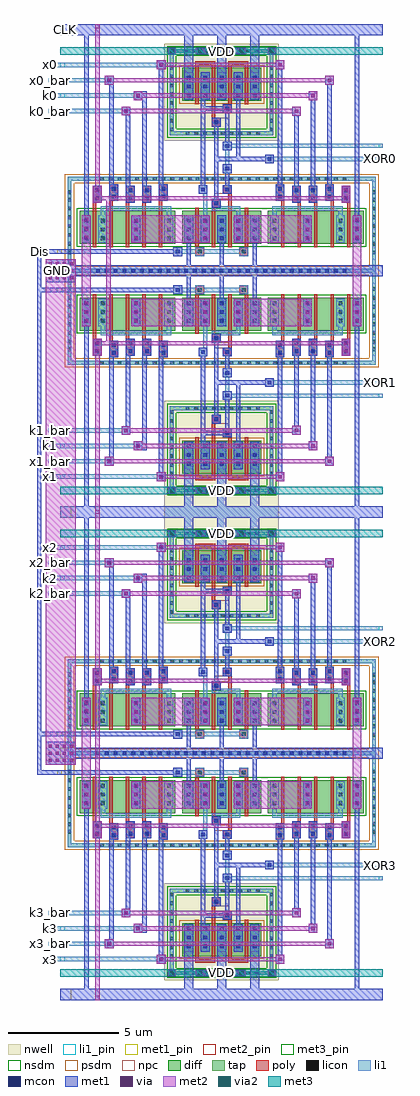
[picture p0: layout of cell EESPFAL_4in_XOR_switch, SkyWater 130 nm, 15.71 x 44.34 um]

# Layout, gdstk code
import gdstk
lib = gdstk.Library(unit=1e-6, precision=1e-09)
def R(c, l, rs):  # rectangles x0, y0, x1, y1
    for r in rs: c.add(gdstk.rectangle(r[:2], r[2:], *l))
def A(c, l, x, y, w, h, nx, ny, dx, dy):  # array of equal rectangles
    R(c, l, [(x+i*dx, y+j*dy, x+i*dx+w, y+j*dy+h) for i in range(nx) for j in range(ny)])
nwell = (64, 20)
diff = (65, 20)
tap = (65, 44)
poly = (66, 20)
licon = (66, 44)
li1_pin = (67, 16)
li1 = (67, 20)
mcon = (67, 44)
met1_pin = (68, 16)
met1 = (68, 20)
via = (68, 44)
met2_pin = (69, 16)
met2 = (69, 20)
via2 = (69, 44)
met3_pin = (70, 16)
met3 = (70, 20)
nsdm = (93, 44)
psdm = (94, 20)
npc = (95, 20)

eespfal_xor_switch = lib.new_cell('EESPFAL_XOR_switch')
R(eespfal_xor_switch, nwell, [(-21.99,6.61,-16.79,11.01)])
R(eespfal_xor_switch, diff, [(-25.84,1.92,-21.49,3.42), (-21.19,1.92,-17.59,3.42), (-17.29,1.92,-12.94,3.42), (-21.19,8.41,-17.59,9.91)])
R(eespfal_xor_switch, tap, [(-26.39,0.61,-12.39,0.78), (-26.39,0.78,-26.22,4.795), (-12.56,0.78,-12.39,4.795), (-26.39,4.795,-12.39,4.965), (-21.74,6.86,-17.04,7.03), (-21.74,7.03,-21.57,10.59), (-17.21,7.03,-17.04,10.59), (-21.74,10.59,-17.04,10.76)])
R(eespfal_xor_switch, poly, [(-20.59,1.365,-20.19,1.765), (-18.59,1.365,-18.19,1.765), (-20.59,1.765,-20.44,3.565), (-19.84,1.765,-19.69,3.565), (-19.09,1.765,-18.94,4.185), (-18.34,1.765,-18.19,3.565), (-25.24,1.77,-25.09,3.79), (-24.49,1.77,-24.34,3.865), (-23.74,1.77,-23.59,3.79), (-22.99,1.77,-22.84,3.79), (-22.24,1.77,-22.09,3.865), (-16.69,1.77,-16.54,3.865), (-15.94,1.77,-15.79,3.79), (-15.19,1.77,-15.04,3.79), (-14.44,1.77,-14.29,3.865), (-13.69,1.77,-13.54,3.79), (-19.84,3.565,-19.44,3.965), (-25.24,3.79,-24.84,4.55), (-23.74,3.79,-23.34,4.55), (-22.99,3.79,-22.59,4.55), (-16.19,3.79,-15.79,4.55), (-15.44,3.79,-15.04,4.55), (-13.94,3.79,-13.54,4.55), (-24.495,3.865,-24.095,4.625), (-22.24,3.865,-21.84,4.625), (-16.94,3.865,-16.54,4.625), (-14.69,3.865,-14.29,4.625), (-19.34,4.185,-18.94,4.585), (-19.84,7.24,-19.44,7.64), (-19.84,7.64,-19.69,10.06), (-19.34,7.86,-18.94,8.26), (-20.59,8.26,-20.44,10.06), (-19.09,8.26,-18.94,10.06), (-18.34,8.26,-18.19,10.06), (-20.59,10.06,-19.69,10.21), (-19.09,10.06,-18.19,10.21)])
A(eespfal_xor_switch, licon, -25.095, 0.61, 0.17, 0.17, 29, 1, 0.4, 0)
A(eespfal_xor_switch, licon, -26.39, 1.44, 0.17, 0.17, 1, 7, 0, 0.4)
A(eespfal_xor_switch, licon, -12.56, 1.44, 0.17, 0.17, 1, 7, 0, 0.4)
A(eespfal_xor_switch, licon, -25.625, 2.085, 0.17, 0.17, 1, 3, 0, 0.4)
A(eespfal_xor_switch, licon, -24.875, 2.085, 0.17, 0.17, 3, 3, 1.5, 0.4)
A(eespfal_xor_switch, licon, -20.975, 2.085, 0.17, 0.17, 5, 3, 0.75, 0.4)
A(eespfal_xor_switch, licon, -17.075, 2.085, 0.17, 0.17, 3, 3, 1.5, 0.4)
A(eespfal_xor_switch, licon, -13.325, 2.085, 0.17, 0.17, 1, 3, 0, 0.4)
A(eespfal_xor_switch, licon, -24.92, 4.795, 0.17, 0.17, 11, 1, 0.4, 0)
A(eespfal_xor_switch, licon, -19.84, 4.795, 0.17, 0.17, 8, 1, 0.4, 0)
A(eespfal_xor_switch, licon, -16.7, 4.795, 0.17, 0.17, 8, 1, 0.4, 0)
A(eespfal_xor_switch, licon, -21.03, 6.86, 0.17, 0.17, 9, 1, 0.4, 0)
A(eespfal_xor_switch, licon, -21.74, 7.03, 0.17, 0.17, 1, 8, 0, 0.4)
A(eespfal_xor_switch, licon, -17.21, 7.03, 0.17, 0.17, 1, 8, 0, 0.4)
A(eespfal_xor_switch, licon, -20.975, 8.575, 0.17, 0.17, 5, 3, 0.75, 0.4)
A(eespfal_xor_switch, licon, -21.09, 10.59, 0.17, 0.17, 9, 1, 0.4, 0)
R(eespfal_xor_switch, licon, [(-20.475,1.48,-20.305,1.65), (-18.475,1.48,-18.305,1.65), (-19.725,3.68,-19.555,3.85), (-25.125,3.905,-24.955,4.075), (-23.625,3.905,-23.455,4.075), (-22.875,3.905,-22.705,4.075), (-16.075,3.905,-15.905,4.075), (-15.325,3.905,-15.155,4.075), (-13.825,3.905,-13.655,4.075), (-24.38,3.98,-24.21,4.15), (-22.125,3.98,-21.955,4.15), (-16.825,3.98,-16.655,4.15), (-14.575,3.98,-14.405,4.15), (-26.39,4.18,-26.22,4.35), (-12.56,4.18,-12.39,4.35), (-25.125,4.265,-24.955,4.435), (-23.625,4.265,-23.455,4.435), (-22.875,4.265,-22.705,4.435), (-16.075,4.265,-15.905,4.435), (-15.325,4.265,-15.155,4.435), (-13.825,4.265,-13.655,4.435), (-19.225,4.3,-19.055,4.47), (-24.38,4.34,-24.21,4.51), (-22.125,4.34,-21.955,4.51), (-16.825,4.34,-16.655,4.51), (-14.575,4.34,-14.405,4.51), (-20.58,4.795,-20.41,4.965), (-20.18,4.795,-20.01,4.965), (-19.725,7.355,-19.555,7.525), (-19.225,7.975,-19.055,8.145)])
A(eespfal_xor_switch, li1_pin, -26.715, 7.85, 0.2, 0.2, 1, 4, 0, 0.7)
R(eespfal_xor_switch, li1_pin, [(-12.265,5.675,-12.065,5.875), (-12.265,6.275,-12.065,6.475)])
A(eespfal_xor_switch, li1, -24.99, 1.97, 0.4, 1.25, 3, 1, 1.5, 0)
A(eespfal_xor_switch, li1, -21.09, 1.97, 0.4, 1.25, 5, 2, 0.75, 6.49)
A(eespfal_xor_switch, li1, -17.19, 1.97, 0.4, 1.25, 3, 1, 1.5, 0)
R(eespfal_xor_switch, li1, [(-26.39,0.61,-12.39,0.78), (-26.39,0.78,-26.22,4.795), (-12.56,0.78,-12.39,4.795), (-21.59,1.365,-21.19,1.465), (-20.59,1.365,-20.19,1.465), (-18.59,1.365,-18.19,1.465), (-21.59,1.465,-18.19,1.665), (-21.59,1.665,-21.19,1.765), (-20.59,1.665,-20.19,1.765), (-18.59,1.665,-18.19,1.765), (-25.74,1.97,-25.34,3.22), (-13.44,1.97,-13.04,3.22), (-24.89,3.22,-24.69,3.42), (-21.89,3.22,-21.69,3.42), (-20.24,3.22,-20.04,4.185), (-18.74,3.22,-18.54,3.42), (-17.09,3.22,-16.89,3.42), (-14.09,3.22,-13.89,3.42), (-24.89,3.42,-21.69,3.62), (-19.84,3.42,-18.54,3.62), (-17.09,3.42,-13.89,3.62), (-19.84,3.62,-19.44,3.965), (-25.24,3.79,-24.84,4.55), (-23.74,3.79,-23.34,4.55), (-22.99,3.79,-22.59,4.55), (-16.19,3.79,-15.79,4.55), (-15.44,3.79,-15.04,4.55), (-13.94,3.79,-13.54,4.55), (-24.495,3.865,-24.095,4.625), (-22.24,3.865,-21.84,4.625), (-16.94,3.865,-16.54,4.625), (-14.69,3.865,-14.29,4.625), (-20.44,4.185,-20.04,4.585), (-19.34,4.185,-18.94,4.585), (-26.39,4.795,-12.39,4.965), (-19.34,5.135,-18.94,5.535), (-19.24,5.535,-19.04,6.165), (-17.42,5.575,-17.02,5.675), (-17.42,5.675,-12.065,5.875), (-17.42,5.875,-17.02,5.975), (-19.34,6.165,-18.94,6.275), (-19.34,6.275,-12.065,6.475), (-19.34,6.475,-18.94,6.565), (-21.74,6.86,-17.04,7.03), (-21.74,7.03,-21.57,10.59), (-17.21,7.03,-17.04,10.59), (-19.84,7.24,-19.44,7.64), (-23.94,7.75,-23.54,7.85), (-26.715,7.85,-23.54,8.05), (-19.34,7.86,-18.94,8.26), (-23.94,8.05,-23.54,8.15), (-23.39,8.45,-22.99,8.55), (-26.715,8.55,-22.99,8.75), (-23.39,8.75,-22.99,8.85), (-24.695,9.15,-24.295,9.25), (-26.715,9.25,-24.295,9.45), (-24.695,9.45,-24.295,9.55), (-22.34,9.855,-21.94,9.95), (-26.715,9.95,-21.94,10.15), (-22.34,10.15,-21.94,10.255), (-21.74,10.59,-17.04,10.76)])
A(eespfal_xor_switch, mcon, -25.095, 0.61, 0.17, 0.17, 29, 1, 0.4, 0)
A(eespfal_xor_switch, mcon, -25.625, 2.085, 0.17, 0.17, 1, 3, 0, 0.4)
A(eespfal_xor_switch, mcon, -23.375, 2.085, 0.17, 0.17, 1, 3, 0, 0.4)
A(eespfal_xor_switch, mcon, -20.975, 2.085, 0.17, 0.17, 5, 3, 0.75, 0.4)
A(eespfal_xor_switch, mcon, -15.575, 2.085, 0.17, 0.17, 1, 3, 0, 0.4)
A(eespfal_xor_switch, mcon, -13.325, 2.085, 0.17, 0.17, 1, 3, 0, 0.4)
A(eespfal_xor_switch, mcon, -20.975, 8.575, 0.17, 0.17, 5, 3, 0.75, 0.4)
R(eespfal_xor_switch, mcon, [(-21.475,1.48,-21.305,1.65), (-19.725,3.68,-19.555,3.85), (-25.125,3.905,-24.955,4.075), (-23.625,3.905,-23.455,4.075), (-22.875,3.905,-22.705,4.075), (-16.075,3.905,-15.905,4.075), (-15.325,3.905,-15.155,4.075), (-13.825,3.905,-13.655,4.075), (-24.38,3.98,-24.21,4.15), (-22.125,3.98,-21.955,4.15), (-16.825,3.98,-16.655,4.15), (-14.575,3.98,-14.405,4.15), (-25.125,4.265,-24.955,4.435), (-23.625,4.265,-23.455,4.435), (-22.875,4.265,-22.705,4.435), (-16.075,4.265,-15.905,4.435), (-15.325,4.265,-15.155,4.435), (-13.825,4.265,-13.655,4.435), (-20.325,4.3,-20.155,4.47), (-19.225,4.3,-19.055,4.47), (-24.38,4.34,-24.21,4.51), (-22.125,4.34,-21.955,4.51), (-16.825,4.34,-16.655,4.51), (-14.575,4.34,-14.405,4.51), (-19.225,5.25,-19.055,5.42), (-17.305,5.69,-17.135,5.86), (-19.225,6.28,-19.055,6.45), (-19.725,7.355,-19.555,7.525), (-23.825,7.865,-23.655,8.035), (-19.225,7.975,-19.055,8.145), (-23.275,8.565,-23.105,8.735), (-24.58,9.265,-24.41,9.435), (-22.225,9.97,-22.055,10.14), (-21.74,10.59,-21.57,10.76), (-20.475,10.59,-20.305,10.76), (-20.075,10.59,-19.905,10.76), (-18.975,10.59,-18.805,10.76), (-18.575,10.59,-18.405,10.76), (-17.21,10.59,-17.04,10.76)])
R(eespfal_xor_switch, met1_pin, [(-26.715,0.445,-26.215,0.945), (-26.855,1.475,-26.655,1.675), (-26.715,11.405,-26.215,11.905)])
A(eespfal_xor_switch, met1, -20.99, 0.945, 0.2, 1.025, 3, 1, 1.5, 0)
A(eespfal_xor_switch, met1, -21.09, 1.97, 0.4, 1.25, 5, 1, 0.75, 0)
A(eespfal_xor_switch, met1, -21.09, 8.46, 0.4, 2.945, 3, 1, 1.5, 0)
R(eespfal_xor_switch, met1, [(-26.715,0.445,-12.065,0.945), (-21.59,1.365,-21.19,1.475), (-26.855,1.475,-21.19,1.675), (-21.59,1.675,-21.19,1.765), (-25.74,1.97,-25.34,3.22), (-23.49,1.97,-23.09,3.22), (-15.69,1.97,-15.29,3.22), (-13.44,1.97,-13.04,3.22), (-25.64,3.22,-25.44,11.405), (-13.34,3.22,-13.14,11.405), (-19.84,3.565,-19.44,3.965), (-25.24,3.79,-24.84,4.55), (-23.74,3.79,-23.34,4.55), (-22.99,3.79,-22.59,4.55), (-16.19,3.79,-15.79,4.55), (-15.44,3.79,-15.04,4.55), (-13.94,3.79,-13.54,4.55), (-24.495,3.865,-24.095,4.625), (-22.24,3.865,-21.84,4.625), (-16.94,3.865,-16.54,4.625), (-14.69,3.865,-14.29,4.625), (-19.74,3.965,-19.54,5.675), (-20.44,4.185,-20.04,4.585), (-19.34,4.185,-18.94,4.585), (-23.74,4.55,-23.54,7.75), (-22.99,4.55,-22.79,8.45), (-16.09,4.55,-15.89,7.745), (-15.34,4.55,-15.14,8.45), (-20.34,4.585,-20.14,7.96), (-19.24,4.585,-19.04,5.135), (-24.495,4.625,-24.295,9.15), (-22.24,4.625,-22.04,9.855), (-16.84,4.625,-16.64,9.855), (-14.59,4.625,-14.39,9.15), (-19.34,5.135,-18.94,5.535), (-17.42,5.575,-17.02,5.675), (-19.74,5.675,-17.02,5.875), (-19.74,5.875,-19.54,7.24), (-18.74,5.875,-18.54,8.46), (-17.42,5.875,-17.02,5.975), (-19.34,6.165,-18.94,6.565), (-19.24,6.565,-19.04,7.86), (-19.84,7.24,-19.44,7.64), (-16.19,7.745,-15.79,8.145), (-23.94,7.75,-23.54,8.15), (-19.34,7.86,-18.94,7.96), (-20.34,7.96,-18.94,8.16), (-20.34,8.16,-20.14,8.46), (-19.34,8.16,-18.94,8.26), (-23.39,8.45,-22.79,8.85), (-15.44,8.45,-15.04,8.85), (-20.34,8.46,-19.94,9.71), (-18.84,8.46,-18.44,9.71), (-24.695,9.15,-24.295,9.55), (-14.69,9.15,-14.29,9.55), (-22.34,9.855,-21.94,10.255), (-16.94,9.855,-16.54,10.255), (-21.815,10.545,-21.495,10.805), (-20.55,10.545,-19.815,10.805), (-19.05,10.545,-18.315,10.805), (-17.285,10.545,-16.965,10.805), (-26.715,11.405,-12.065,11.905)])
A(eespfal_xor_switch, via, -23.365, 2.095, 0.15, 0.15, 1, 3, 0, 0.4)
A(eespfal_xor_switch, via, -20.215, 2.095, 0.15, 0.15, 1, 3, 0, 0.4)
A(eespfal_xor_switch, via, -18.715, 2.095, 0.15, 0.15, 1, 3, 0, 0.4)
A(eespfal_xor_switch, via, -15.565, 2.095, 0.15, 0.15, 1, 3, 0, 0.4)
R(eespfal_xor_switch, via, [(-25.115,3.915,-24.965,4.065), (-13.815,3.915,-13.665,4.065), (-25.115,4.275,-24.965,4.425), (-13.815,4.275,-13.665,4.425), (-16.065,7.87,-15.915,8.02), (-23.815,7.875,-23.665,8.025), (-23.265,8.575,-23.115,8.725), (-15.315,8.575,-15.165,8.725), (-24.57,9.275,-24.42,9.425), (-14.565,9.275,-14.415,9.425), (-22.215,9.98,-22.065,10.13), (-16.815,9.98,-16.665,10.13), (-21.73,10.6,-21.58,10.75), (-20.465,10.6,-20.315,10.75), (-20.065,10.6,-19.915,10.75), (-18.965,10.6,-18.815,10.75), (-18.565,10.6,-18.415,10.75), (-17.2,10.6,-17.05,10.75)])
R(eespfal_xor_switch, met2_pin, [(-25.135,11.705,-24.935,11.905)])
R(eespfal_xor_switch, met2, [(-23.49,1.97,-19.94,3.22), (-18.84,1.97,-15.29,3.22), (-25.24,3.79,-24.84,3.89), (-13.94,3.79,-13.54,3.89), (-25.24,3.89,-13.54,4.09), (-25.24,4.09,-24.84,4.55), (-13.94,4.09,-13.54,4.55), (-25.135,4.55,-24.935,11.905), (-16.19,7.745,-15.79,7.845), (-23.94,7.75,-23.54,7.845), (-23.94,7.845,-15.79,8.045), (-23.94,8.045,-23.54,8.15), (-16.19,8.045,-15.79,8.145), (-23.39,8.45,-22.99,8.55), (-15.44,8.45,-15.04,8.55), (-23.39,8.55,-15.04,8.75), (-23.39,8.75,-22.99,8.85), (-15.44,8.75,-15.04,8.85), (-24.695,9.15,-24.295,9.25), (-14.69,9.15,-14.29,9.25), (-24.695,9.25,-14.29,9.45), (-24.695,9.45,-24.295,9.55), (-14.69,9.45,-14.29,9.55), (-22.34,9.855,-21.94,9.955), (-16.94,9.855,-16.54,9.955), (-22.34,9.955,-16.54,10.155), (-22.34,10.155,-21.94,10.255), (-16.94,10.155,-16.54,10.255), (-21.84,10.535,-21.47,10.815), (-20.575,10.535,-19.805,10.815), (-19.075,10.535,-18.305,10.815), (-17.31,10.535,-16.94,10.815)])
R(eespfal_xor_switch, via2, [(-21.755,10.575,-21.555,10.775), (-20.49,10.575,-20.29,10.775), (-20.09,10.575,-19.89,10.775), (-18.99,10.575,-18.79,10.775), (-18.59,10.575,-18.39,10.775), (-17.225,10.575,-17.025,10.775)])
R(eespfal_xor_switch, met3_pin, [(-26.715,10.51,-12.065,10.84)])
R(eespfal_xor_switch, met3, [(-26.715,10.51,-12.065,10.84)])
R(eespfal_xor_switch, nsdm, [(-25.965,1.795,-12.815,3.545), (-21.865,6.735,-16.915,7.155), (-21.865,7.155,-21.445,10.465), (-17.335,7.155,-16.915,10.465), (-21.865,10.465,-16.915,10.885)])
R(eespfal_xor_switch, psdm, [(-26.515,0.485,-12.265,0.905), (-26.515,0.905,-26.095,4.67), (-12.685,0.905,-12.265,4.67), (-26.515,4.67,-12.265,5.09), (-21.315,8.285,-17.465,10.035)])
R(eespfal_xor_switch, npc, [(-20.575,1.38,-20.205,1.75), (-18.575,1.38,-18.205,1.75), (-19.825,3.58,-19.455,3.94), (-25.225,3.805,-24.855,4.535), (-23.725,3.805,-23.355,4.535), (-22.975,3.805,-22.605,4.535), (-16.175,3.805,-15.805,4.535), (-15.425,3.805,-15.055,4.535), (-13.925,3.805,-13.555,4.535), (-24.48,3.88,-24.11,4.61), (-22.225,3.88,-21.855,4.61), (-16.925,3.88,-16.555,4.61), (-14.675,3.88,-14.305,4.61), (-19.825,3.94,-19.055,3.95), (-19.725,3.95,-19.055,4.2), (-19.725,4.2,-18.955,4.21), (-19.325,4.21,-18.955,4.57), (-19.825,7.255,-19.455,7.615), (-19.825,7.615,-19.055,7.625), (-19.725,7.625,-19.055,7.875), (-19.725,7.875,-18.955,7.885), (-19.325,7.885,-18.955,8.245)])
eespfal_xor_switch.add(gdstk.Label('A', (-26.615,10.05), layer=67, texttype=5))
eespfal_xor_switch.add(gdstk.Label('B', (-26.615,8.65), layer=67, texttype=5))
eespfal_xor_switch.add(gdstk.Label('A_bar', (-26.615,9.35), layer=67, texttype=5))
eespfal_xor_switch.add(gdstk.Label('B_bar', (-26.615,7.95), layer=67, texttype=5))
eespfal_xor_switch.add(gdstk.Label('OUT', (-12.165,5.775), layer=67, texttype=5))
eespfal_xor_switch.add(gdstk.Label('OUT_bar', (-12.165,6.375), layer=67, texttype=5))
eespfal_xor_switch.add(gdstk.Label('VDD', (-19.39,10.675), layer=70, texttype=5))
eespfal_xor_switch.add(gdstk.Label('Dis', (-26.755,1.575), layer=68, texttype=5))
eespfal_xor_switch.add(gdstk.Label('CLK', (-26.465,11.655), layer=68, texttype=5))
eespfal_xor_switch.add(gdstk.Label('GND', (-26.465,0.695), layer=68, texttype=5))
eespfal_xor_switch.add(gdstk.Label('Dis_Phase', (-25.035,11.805), layer=69, texttype=5))

eespfal_4in_xor_switch = lib.new_cell('EESPFAL_4in_XOR_switch')
R(eespfal_4in_xor_switch, nwell, [(5.79,21.525,10.99,22.815)])
A(eespfal_4in_xor_switch, li1_pin, 0.525, 1.755, 0.2, 0.2, 1, 4, 0, 0.7)
A(eespfal_4in_xor_switch, li1_pin, 0.525, 18.365, 0.2, 0.2, 1, 4, 0, 0.7)
A(eespfal_4in_xor_switch, li1_pin, 0.525, 23.675, 0.2, 0.2, 1, 4, 0, 0.7)
A(eespfal_4in_xor_switch, li1_pin, 0.525, 40.285, 0.2, 0.2, 1, 4, 0, 0.7)
R(eespfal_4in_xor_switch, li1_pin, [(15.515,5.43,15.715,5.63), (15.515,6.03,15.715,6.23), (15.515,16.19,15.715,16.39), (15.515,16.79,15.715,16.99), (15.515,27.35,15.715,27.55), (15.515,27.95,15.715,28.15), (15.515,38.11,15.715,38.31), (15.515,38.71,15.715,38.91)])
A(eespfal_4in_xor_switch, li1, 0.525, 1.755, 0.54, 0.2, 1, 4, 0, 0.7)
A(eespfal_4in_xor_switch, li1, 0.525, 18.365, 0.54, 0.2, 1, 4, 0, 0.7)
A(eespfal_4in_xor_switch, li1, 0.525, 23.675, 0.54, 0.2, 1, 4, 0, 0.7)
A(eespfal_4in_xor_switch, li1, 0.525, 40.285, 0.54, 0.2, 1, 4, 0, 0.7)
R(eespfal_4in_xor_switch, li1, [(15.515,5.43,15.715,5.63), (15.515,6.03,15.715,6.23), (15.515,16.19,15.715,16.39), (15.515,16.79,15.715,16.99), (15.515,27.35,15.715,27.55), (15.515,27.95,15.715,28.15), (15.515,38.11,15.715,38.31), (15.515,38.71,15.715,38.91)])
R(eespfal_4in_xor_switch, met1_pin, [(0,33.91,0.2,34.11), (1.065,43.84,1.565,44.34)])
A(eespfal_4in_xor_switch, met1, 2.11, 8.805, 0.26, 0.26, 1, 3, 0, 0.4)
A(eespfal_4in_xor_switch, met1, 14.41, 8.805, 0.26, 0.26, 1, 3, 0, 0.4)
A(eespfal_4in_xor_switch, met1, 2.11, 12.605, 0.26, 0.26, 1, 3, 0, 0.4)
A(eespfal_4in_xor_switch, met1, 14.41, 12.605, 0.26, 0.26, 1, 3, 0, 0.4)
A(eespfal_4in_xor_switch, met1, 2.11, 30.725, 0.26, 0.26, 1, 3, 0, 0.4)
A(eespfal_4in_xor_switch, met1, 14.41, 30.725, 0.26, 0.26, 1, 3, 0, 0.4)
A(eespfal_4in_xor_switch, met1, 2.11, 34.525, 0.26, 0.26, 1, 3, 0, 0.4)
A(eespfal_4in_xor_switch, met1, 14.41, 34.525, 0.26, 0.26, 1, 3, 0, 0.4)
R(eespfal_4in_xor_switch, met1, [(0,10.23,1.125,10.43), (0,10.43,0.2,11.99), (0.4,10.69,1.76,11.73), (0,11.99,1.125,12.19), (0,12.19,0.2,32.15), (0,32.15,1.125,32.35), (0,32.35,0.2,33.91), (0.4,32.61,1.76,33.65), (0,33.91,1.125,34.11), (1.065,43.84,1.565,44.34)])
A(eespfal_4in_xor_switch, via, 2.165, 8.86, 0.15, 0.15, 1, 3, 0, 0.4)
A(eespfal_4in_xor_switch, via, 14.465, 8.86, 0.15, 0.15, 1, 3, 0, 0.4)
A(eespfal_4in_xor_switch, via, 0.525, 10.815, 0.15, 0.15, 4, 3, 0.32, 0.32)
A(eespfal_4in_xor_switch, via, 2.165, 12.66, 0.15, 0.15, 1, 3, 0, 0.4)
A(eespfal_4in_xor_switch, via, 14.465, 12.66, 0.15, 0.15, 1, 3, 0, 0.4)
A(eespfal_4in_xor_switch, via, 2.165, 30.78, 0.15, 0.15, 1, 3, 0, 0.4)
A(eespfal_4in_xor_switch, via, 14.465, 30.78, 0.15, 0.15, 1, 3, 0, 0.4)
A(eespfal_4in_xor_switch, via, 0.525, 32.735, 0.15, 0.15, 4, 3, 0.32, 0.32)
A(eespfal_4in_xor_switch, via, 2.165, 34.58, 0.15, 0.15, 1, 3, 0, 0.4)
A(eespfal_4in_xor_switch, via, 14.465, 34.58, 0.15, 0.15, 1, 3, 0, 0.4)
R(eespfal_4in_xor_switch, met2_pin, [(0.4,32.61,1.44,33.65), (2.645,44.14,2.845,44.34)])
R(eespfal_4in_xor_switch, met2, [(2.64,8.115,2.84,14.305), (2.04,8.685,2.44,13.735), (14.34,8.685,14.74,13.735), (0.4,10.69,1.76,33.65), (3.155,29.935,3.355,36.325), (2.04,30.605,2.44,35.655), (14.34,30.605,14.74,35.655), (2.645,44.14,2.845,44.34)])
R(eespfal_4in_xor_switch, met3_pin, [(1.065,1.065,15.715,1.395), (1.065,21.025,15.715,21.355), (1.065,22.985,15.715,23.315), (1.065,42.945,15.715,43.275)])
R(eespfal_4in_xor_switch, met3, [(1.065,1.065,15.715,1.395), (1.065,21.025,15.715,21.355), (1.065,22.985,15.715,23.315), (1.065,42.945,15.715,43.275)])
eespfal_4in_xor_switch.add(gdstk.Reference(eespfal_xor_switch, (27.78,32.435)))
eespfal_4in_xor_switch.add(gdstk.Reference(eespfal_xor_switch, (27.78,33.825), x_reflection=True))
eespfal_4in_xor_switch.add(gdstk.Reference(eespfal_xor_switch, (27.78,10.515)))
eespfal_4in_xor_switch.add(gdstk.Reference(eespfal_xor_switch, (27.78,11.905), x_reflection=True))
eespfal_4in_xor_switch.add(gdstk.Label('XOR2', (15.61,16.265), layer=67, texttype=5))
eespfal_4in_xor_switch.add(gdstk.Label('x0', (0.625,42.485), layer=67, texttype=5))
eespfal_4in_xor_switch.add(gdstk.Label('x0_bar', (0.625,41.785), layer=67, texttype=5))
eespfal_4in_xor_switch.add(gdstk.Label('k0', (0.625,41.085), layer=67, texttype=5))
eespfal_4in_xor_switch.add(gdstk.Label('k0_bar', (0.625,40.385), layer=67, texttype=5))
eespfal_4in_xor_switch.add(gdstk.Label('x2', (0.625,20.565), layer=67, texttype=5))
eespfal_4in_xor_switch.add(gdstk.Label('x2_bar', (0.625,19.865), layer=67, texttype=5))
eespfal_4in_xor_switch.add(gdstk.Label('k2_bar', (0.625,18.465), layer=67, texttype=5))
eespfal_4in_xor_switch.add(gdstk.Label('k2', (0.625,19.165), layer=67, texttype=5))
eespfal_4in_xor_switch.add(gdstk.Label('k3_bar', (0.625,3.955), layer=67, texttype=5))
eespfal_4in_xor_switch.add(gdstk.Label('k3', (0.625,3.255), layer=67, texttype=5))
eespfal_4in_xor_switch.add(gdstk.Label('x3_bar', (0.625,2.555), layer=67, texttype=5))
eespfal_4in_xor_switch.add(gdstk.Label('x3', (0.625,1.855), layer=67, texttype=5))
eespfal_4in_xor_switch.add(gdstk.Label('k1_bar', (0.625,25.875), layer=67, texttype=5))
eespfal_4in_xor_switch.add(gdstk.Label('k1', (0.625,25.175), layer=67, texttype=5))
eespfal_4in_xor_switch.add(gdstk.Label('x1_bar', (0.625,24.475), layer=67, texttype=5))
eespfal_4in_xor_switch.add(gdstk.Label('x1', (0.625,23.775), layer=67, texttype=5))
eespfal_4in_xor_switch.add(gdstk.Label('XOR1', (15.615,28.05), layer=67, texttype=5))
eespfal_4in_xor_switch.add(gdstk.Label('XOR1_bar', (15.615,27.45), layer=67, texttype=5))
eespfal_4in_xor_switch.add(gdstk.Label('XOR2', (15.615,16.29), layer=67, texttype=5))
eespfal_4in_xor_switch.add(gdstk.Label('XOR0', (15.615,38.21), layer=67, texttype=5))
eespfal_4in_xor_switch.add(gdstk.Label('XOR2_bar', (15.615,16.89), layer=67, texttype=5))
eespfal_4in_xor_switch.add(gdstk.Label('XOR0_bar', (15.615,38.81), layer=67, texttype=5))
eespfal_4in_xor_switch.add(gdstk.Label('XOR3', (15.615,6.13), layer=67, texttype=5))
eespfal_4in_xor_switch.add(gdstk.Label('XOR3_bar', (15.615,5.53), layer=67, texttype=5))
eespfal_4in_xor_switch.add(gdstk.Label('VDD', (8.39,23.15), layer=70, texttype=5))
eespfal_4in_xor_switch.add(gdstk.Label('VDD', (8.39,21.19), layer=70, texttype=5))
eespfal_4in_xor_switch.add(gdstk.Label('VDD', (8.39,1.23), layer=70, texttype=5))
eespfal_4in_xor_switch.add(gdstk.Label('VDD', (8.39,43.11), layer=70, texttype=5))
eespfal_4in_xor_switch.add(gdstk.Label('Dis', (0.1,34.01), layer=68, texttype=5))
eespfal_4in_xor_switch.add(gdstk.Label('CLK', (1.315,44.09), layer=68, texttype=5))
eespfal_4in_xor_switch.add(gdstk.Label('GND', (0.92,33.13), layer=69, texttype=5))
eespfal_4in_xor_switch.add(gdstk.Label('Dis_Phase', (2.745,44.24), layer=69, texttype=5))

lib.write_gds('EESPFAL_4in_XOR_switch.gds')
